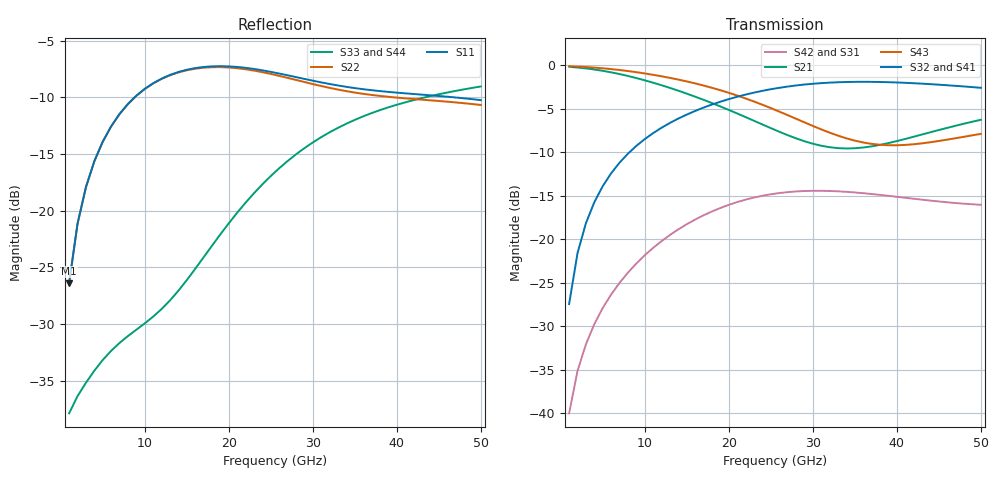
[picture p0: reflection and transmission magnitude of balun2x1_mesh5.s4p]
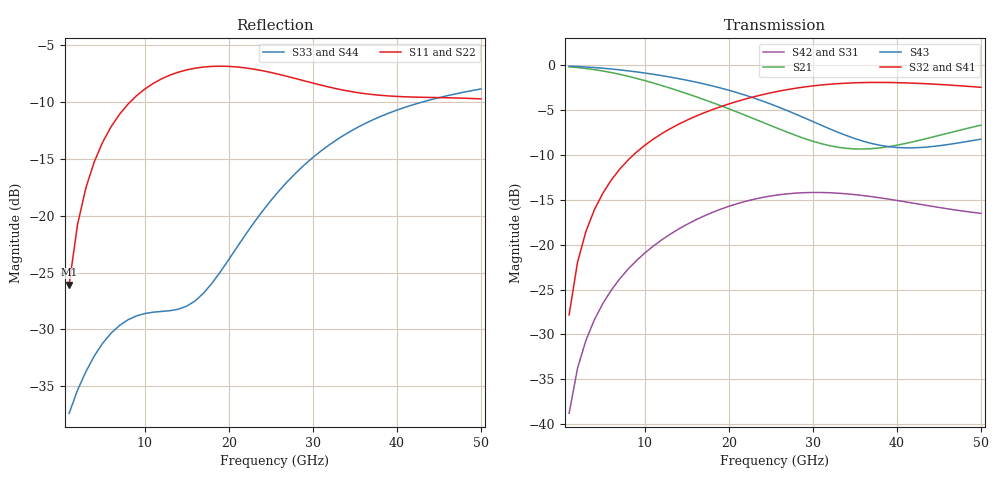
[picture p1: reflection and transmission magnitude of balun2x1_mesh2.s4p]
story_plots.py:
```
#!/usr/bin/env python
"""Plots and numbers for README.md (balun2x1 edge-coupled 2:1 balun mesh study).

Reads the de-embedded Touchstone files in results/snp/ and writes to results/plots/:

  story_uniform.png           - k, primary Q, |Sdd21|, |Sdd11| vs. frequency, uniform order-2 mesh
  story_accuracy_vs_cost.png  - peak-Q error and Max|dS| vs. solve time, order 1, order 2, AMR

It also prints the numbers quoted in README.md.

Figures of merit, ports 1/2 = primary pair, ports 3/4 = secondary pair:
  Zp = Z11 - Z12 - Z21 + Z22,  Zs = Z33 - Z34 - Z43 + Z44,  Zm = Z13 - Z14 - Z23 + Z24
  L = Im(Z)/w,  Q = Im(Z)/Re(Z),  k = |Im(Zm)| / sqrt(Im(Zp) * Im(Zs))
  Sdd11, Sdd21: differential 2-port (Zp, Zm, Zm, Zs) converted to S at the
  system impedances 200 ohm (primary) and 50 ohm (secondary).
Reference for all errors: 1 um uniform mesh, order 2.
"""
import os
import numpy as np
import skrf as rf
import matplotlib
matplotlib.use("Agg")
import matplotlib.pyplot as plt

HERE = os.path.dirname(os.path.abspath(__file__))
SNP_DIR = os.path.join(HERE, "snp")
PLOT_DIR = os.path.join(HERE, "plots")

Z01, Z02 = 200.0, 50.0
L_FREQ = 10e9
F_COIL_MAX = 25e9  # primary self-resonance at 27-30 GHz; L, k, Q lose their meaning above

UNIFORM = [
    ("5 µm", "balun2x1_mesh5.s4p", "#86b6ef"),
    ("2 µm", "balun2x1_mesh2.s4p", "#2a78d6"),
    ("1 µm", "balun2x1_mesh1.s4p", "#0d366b"),
]
ORDER1 = [
    ("5 µm", "balun2x1_mesh5_order1.s4p"),
    ("2 µm", "balun2x1_mesh2_order1.s4p"),
    ("1 µm", "balun2x1_mesh1_order1.s4p"),
]
AMR = ("AMR final", "balun2x1_amr2_final.s4p")
REFERENCE = "balun2x1_mesh1.s4p"

# solve times in minutes, from the Palace logs; AMR value is cumulative over all iterations
SOLVE_MIN = {
    "balun2x1_mesh5.s4p": 1 + 3 / 60,
    "balun2x1_mesh2.s4p": 2 + 45 / 60,
    "balun2x1_mesh1.s4p": 5 + 45 / 60,
    "balun2x1_mesh5_order1.s4p": 14.6 / 60,
    "balun2x1_mesh2_order1.s4p": 34.7 / 60,
    "balun2x1_mesh1_order1.s4p": 1 + 14 / 60,
    "balun2x1_amr2_final.s4p": 17 + 39 / 60,
}

INK = "#0b0b0b"
INK2 = "#52514e"
GRID = "#e4e3de"
BLUE = "#2a78d6"
ORANGE = "#eb6834"
AQUA = "#1baf7a"


def minutes_label(m):
    """solve time for a plot label: 1.5 min, 27 min"""
    return f"{m:.1f} min" if m < 10 else f"{m:.0f} min"


def load(fname):
    return rf.Network(os.path.join(SNP_DIR, fname))


def merits(ntw):
    z = ntw.z
    w = 2 * np.pi * ntw.f
    zp = z[:, 0, 0] - z[:, 0, 1] - z[:, 1, 0] + z[:, 1, 1]
    zs = z[:, 2, 2] - z[:, 2, 3] - z[:, 3, 2] + z[:, 3, 3]
    zm = z[:, 0, 2] - z[:, 0, 3] - z[:, 1, 2] + z[:, 1, 3]
    d = (zp + Z01) * (zs + Z02) - zm * zm
    sdd11 = ((zp - Z01) * (zs + Z02) - zm * zm) / d
    sdd21 = 2 * zm * np.sqrt(Z01 * Z02) / d
    return {
        "Lp": zp.imag / w * 1e9,
        "Ls": zs.imag / w * 1e9,
        "Qp": zp.imag / zp.real,
        "Qs": zs.imag / zs.real,
        "k": np.abs(zm.imag) / np.sqrt(np.abs(zp.imag * zs.imag)),
        "Sdd21": 20 * np.log10(np.abs(sdd21)),
        "Sdd11": 20 * np.log10(np.abs(sdd11)),
    }


def at(ntw, values, f_hz):
    return np.interp(f_hz, ntw.f, values)


def style(ax):
    ax.grid(True, color=GRID, linewidth=0.8)
    ax.set_axisbelow(True)
    for side in ("top", "right"):
        ax.spines[side].set_visible(False)
    for side in ("left", "bottom"):
        ax.spines[side].set_color(INK2)
    ax.tick_params(colors=INK2, labelsize=9)


def plot_uniform():
    panels = [
        ("k", "Coupling factor k"),
        ("Qp", "Primary Q"),
        ("Sdd21", "|Sdd21| at 200 Ω / 50 Ω (dB)"),
        ("Sdd11", "|Sdd11| at 200 Ω / 50 Ω (dB)"),
    ]
    fig, axes = plt.subplots(2, 2, figsize=(10, 6.6))
    for label, fname, color in UNIFORM:
        ntw = load(fname)
        m = merits(ntw)
        coil_range = ntw.f <= F_COIL_MAX
        for ax, (key, _) in zip(axes.flat, panels):
            sel = coil_range if key in ("k", "Qp") else slice(None)
            ax.plot(ntw.f[sel] / 1e9, m[key][sel], color=color, linewidth=2, label=label)
    for ax, (_, title) in zip(axes.flat, panels):
        style(ax)
        ax.set_title(title, loc="left", fontsize=11, color=INK)
    axes[1, 0].set_ylim(-3, -1)
    for ax in axes.flat:
        ax.set_xlabel("Frequency (GHz)", color=INK2)
    handles, labels = axes[0, 0].get_legend_handles_labels()
    fig.legend(handles, labels, loc="upper center", ncol=3, frameon=False, fontsize=9,
               title="refined_cellsize (uniform, order 2)", title_fontsize=9)
    fig.tight_layout(rect=(0, 0, 1, 0.92))
    out = os.path.join(PLOT_DIR, "story_uniform.png")
    fig.savefig(out, dpi=130, facecolor="white")
    plt.close(fig)
    print("wrote", out)


def plot_accuracy_vs_cost():
    ref = load(REFERENCE)
    q_ref = merits(ref)["Qp"].max()

    def err(fname):
        ntw = load(fname)
        return (abs(merits(ntw)["Qp"].max() / q_ref - 1) * 100, np.abs(ntw.s - ref.s).max())

    fig, axes = plt.subplots(1, 2, figsize=(10, 4.2), sharex=True)
    series = [
        ("order 2, uniform", [(l, f) for l, f, _ in UNIFORM[:-1]], BLUE, "o"),
        ("order 1, uniform", ORDER1, ORANGE, "s"),
    ]
    for name, runs, color, marker in series:
        xs = [SOLVE_MIN[f] for _, f in runs]
        errs = [err(f) for _, f in runs]
        for ax, idx in zip(axes, (0, 1)):
            ys = [e[idx] for e in errs]
            ax.plot(xs, ys, color=color, linewidth=2, marker=marker, markersize=8, label=name, zorder=3)
            for (label, _), x, y in zip(runs, xs, ys):
                ax.annotate(label, (x, y), textcoords="offset points", xytext=(6, 5), fontsize=8, color=INK)
    e_amr = err(AMR[1])
    for ax, y in zip(axes, e_amr):
        ax.plot([SOLVE_MIN[AMR[1]]], [y], color=AQUA, marker="D", markersize=9, linestyle="none",
                label="AMR, 2 iterations", zorder=3)
    for ax, title in zip(axes, ("|Peak primary Q error| (%)", "Max |ΔS| (linear)")):
        style(ax)
        ax.set_title(title, loc="left", fontsize=11, color=INK)
        ax.set_xscale("log")
        ax.set_xticks([0.2, 0.5, 1, 2, 5, 10, 20, 50])
        ax.set_xticklabels(["0.2", "0.5", "1", "2", "5", "10", "20", "50"])
        ax.set_xlim(0.2, 60)
        ax.set_ylim(bottom=0)
        ax.set_xlabel("Solve time (min, log scale)", color=INK2)
        ax.axvline(SOLVE_MIN[REFERENCE], color=INK2, linewidth=1, linestyle=":")
    axes[0].text(SOLVE_MIN[REFERENCE], axes[0].get_ylim()[1], f" 1 µm reference\n run ({minutes_label(SOLVE_MIN[REFERENCE])})",
                 fontsize=8, color=INK2, va="top")
    handles, labels = axes[0].get_legend_handles_labels()
    fig.legend(handles, labels, loc="upper center", ncol=3, frameon=False, fontsize=9,
               title="error vs. 1 µm uniform mesh, order 2", title_fontsize=9)
    fig.tight_layout(rect=(0, 0, 1, 0.86))
    out = os.path.join(PLOT_DIR, "story_accuracy_vs_cost.png")
    fig.savefig(out, dpi=130, facecolor="white")
    plt.close(fig)
    print("wrote", out)


def print_numbers():
    ref = load(REFERENCE)
    rows = [(l + ", order 2", f) for l, f, _ in UNIFORM] + [(l + ", order 1", f) for l, f in ORDER1] + [AMR]
    print()
    print(f"{'variant':15s} {'Lp@10':>6s} {'Ls@10':>6s} {'k@10':>6s} {'Qp pk':>6s} {'Qs pk':>6s} "
          f"{'Sdd21 pk':>8s} {'@GHz':>5s} {'Sdd11 min':>9s} {'MaxdS':>7s} {'min':>5s}")
    for label, fname in rows:
        ntw = load(fname)
        m = merits(ntw)
        print(f"{label:15s} {at(ntw, m['Lp'], L_FREQ):6.3f} {at(ntw, m['Ls'], L_FREQ):6.3f} "
              f"{at(ntw, m['k'], L_FREQ):6.3f} {m['Qp'].max():6.2f} {m['Qs'].max():6.2f} "
              f"{m['Sdd21'].max():8.2f} {ntw.f[m['Sdd21'].argmax()] / 1e9:5.0f} {m['Sdd11'].min():9.1f} "
              f"{np.abs(ntw.s - ref.s).max():7.4f} {SOLVE_MIN[fname]:5.1f}")


if __name__ == "__main__":
    os.makedirs(PLOT_DIR, exist_ok=True)
    plot_uniform()
    plot_accuracy_vs_cost()
    print_numbers()
```
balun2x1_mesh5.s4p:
! Created with skrf 2.2.0 (http://scikit-rf.org).
# GHz S DB R 50.0
! Port[1] = P1
! Port[2] = P2
! Port[3] = P3
! Port[4] = P4
!freq dBS11 angS11 dBS12 angS12 dBS13 angS13
! dBS14 angS14
! dBS21 angS21 dBS22 angS22 dBS23 angS23
! dBS24 angS24
! dBS31 angS31 dBS32 angS32 dBS33 angS33
! dBS34 angS34
! dBS41 angS41 dBS42 angS42 dBS43 angS43
! dBS44 angS44
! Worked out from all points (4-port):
!   50 points, 1 GHz to 50 GHz, reference 50 ohm
!   strongest paths, dB at 1 GHz, 13 GHz, 26 GHz, 38 GHz, 50 GHz:
!     S32: -27.5, -6.6, -2.6, -1.9, -2.6
!     S41: -27.5, -6.7, -2.6, -2.0, -2.7
!     S43: -0.1, -1.5, -5.3, -9.2, -7.9
!     S21: -0.2, -2.6, -7.7, -9.2, -6.3
!     S42: -40.0, -19.5, -14.7, -14.9, -16.1
!     S31: -40.0, -19.7, -15.0, -15.2, -16.2
!   lowest |S11| = -26.4 dB at 1 GHz (marker M1), VSWR 1.10, Z = 52 + j4.46 ohm
!   |S11| at or under -10 dB: start of sweep to 8.813 GHz; 46.62 GHz to end of sweep
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1  -26.41 63.5  -0.19 -5.4  -40.04 -112.8  -27.46 84.2
   -0.19 -5.4  -26.40 63.4  -27.47 84.2  -40.03 -112.9
   -40.04 -112.8  -27.47 84.2  -37.89 15.8  -0.12 -2.7
   -27.46 84.2  -40.03 -112.9  -0.12 -2.7  -37.88 15.8
27  -8.07 -18.2  -8.05 -139.9  -14.88 59.3  -2.49 -0.2
    -8.05 -139.9  -8.29 -20.0  -2.46 -0.4  -14.60 57.0
    -14.88 59.3  -2.46 -0.4  -15.63 170.1  -5.75 -51.2
    -2.49 -0.2  -14.60 57.0  -5.75 -51.2  -15.38 170.1
50  -10.26 -45.4  -6.28 79.7  -16.21 -8.1  -2.65 -56.4
    -6.28 79.7  -10.69 -45.7  -2.61 -56.9  -16.06 -12.8
    -16.21 -8.1  -2.61 -56.9  -9.05 90.7  -7.90 -25.9
    -2.65 -56.4  -16.06 -12.8  -7.90 -25.9  -8.87 90.0
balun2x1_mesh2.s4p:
! Created with skrf 2.2.0 (http://scikit-rf.org).
# GHz S DB R 50.0
! Port[1] = P1
! Port[2] = P2
! Port[3] = P3
! Port[4] = P4
!freq dBS11 angS11 dBS12 angS12 dBS13 angS13
! dBS14 angS14
! dBS21 angS21 dBS22 angS22 dBS23 angS23
! dBS24 angS24
! dBS31 angS31 dBS32 angS32 dBS33 angS33
! dBS34 angS34
! dBS41 angS41 dBS42 angS42 dBS43 angS43
! dBS44 angS44
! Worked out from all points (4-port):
!   50 points, 1 GHz to 50 GHz, reference 50 ohm
!   strongest paths, dB at 1 GHz, 13 GHz, 26 GHz, 38 GHz, 50 GHz:
!     S32: -27.8, -7.1, -2.9, -1.9, -2.5
!     S41: -27.8, -7.1, -2.9, -2.0, -2.5
!     S43: -0.1, -1.3, -4.7, -8.9, -8.2
!     S21: -0.2, -2.6, -7.1, -9.2, -6.7
!     S42: -38.8, -18.9, -14.4, -14.8, -16.5
!     S31: -38.8, -18.9, -14.6, -15.0, -16.6
!   lowest |S11| = -26.1 dB at 1 GHz (marker M1), VSWR 1.10, Z = 52 + j4.67 ohm
!   |S11| at or under -10 dB: start of sweep to 8.259 GHz
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1  -26.07 64.4  -0.19 -5.3  -38.80 -110.1  -27.82 84.2
   -0.19 -5.3  -26.07 64.3  -27.82 84.2  -38.79 -110.2
   -38.80 -110.1  -27.82 84.2  -37.39 23.4  -0.12 -2.6
   -27.82 84.2  -38.79 -110.2  -0.12 -2.6  -37.38 23.4
28  -7.94 -18.9  -7.84 -138.5  -14.38 61.1  -2.59 -0.0
    -7.84 -138.5  -8.07 -20.3  -2.57 -0.2  -14.26 59.7
    -14.38 61.1  -2.57 -0.2  -16.22 168.1  -5.48 -52.6
    -2.59 -0.0  -14.26 59.7  -5.48 -52.6  -16.07 167.8
50  -9.72 -37.5  -6.69 87.5  -16.65 -8.5  -2.51 -54.3
    -6.69 87.5  -10.05 -38.0  -2.47 -54.8  -16.51 -12.6
    -16.65 -8.5  -2.47 -54.8  -8.85 89.3  -8.25 -28.9
    -2.51 -54.3  -16.51 -12.6  -8.25 -28.9  -8.69 88.7
